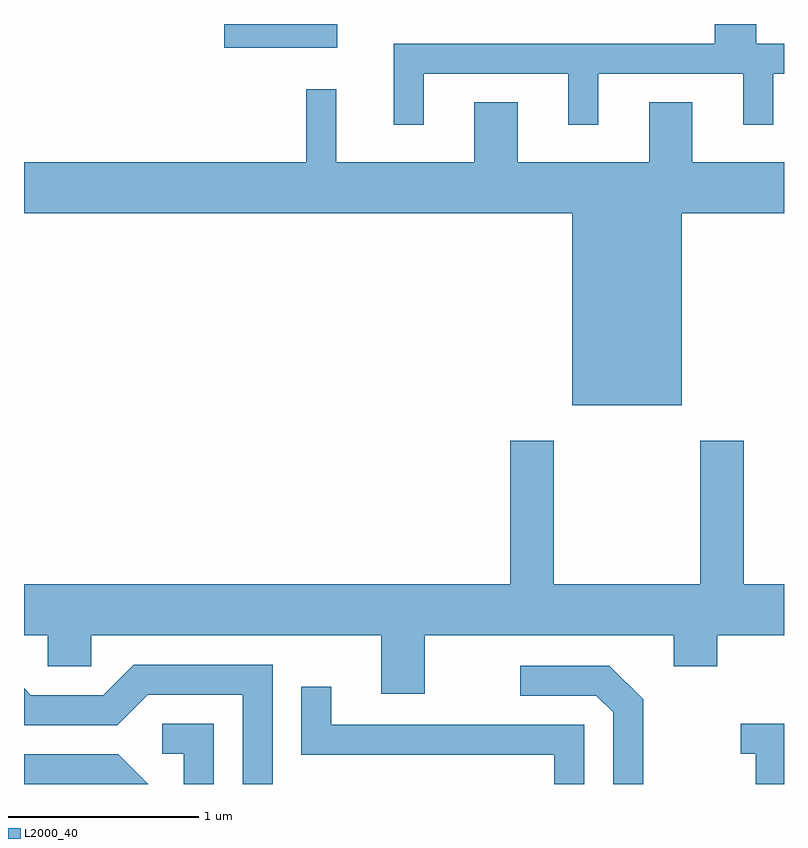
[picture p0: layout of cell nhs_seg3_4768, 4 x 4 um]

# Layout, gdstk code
import gdstk
lib = gdstk.Library(unit=1e-6, precision=1e-09)
def R(c, l, rs):  # rectangles x0, y0, x1, y1
    for r in rs: c.add(gdstk.rectangle(r[:2], r[2:], *l))
def P(c, l, *ps):  # polygons
    for p in ps: c.add(gdstk.Polygon(p, *l))
L2000_40 = (2000, 40)

nhs_seg3_4768 = lib.new_cell('nhs_seg3_4768')
R(nhs_seg3_4768, L2000_40, [(326.666,1135.766,327.259,1135.892)])
P(nhs_seg3_4768, L2000_40, [(327.714,1135.631),(328.476,1135.631),(328.476,1135.363),(328.634,1135.363),(328.634,1135.631),(329.396,1135.631),(329.396,1135.363),(329.554,1135.363),(329.554,1135.631),(329.611,1135.631),(329.611,1135.789),(329.464,1135.789),(329.464,1135.892),(329.246,1135.892),(329.246,1135.789),(327.556,1135.789),(327.556,1135.363),(327.714,1135.363)],
  [(329.074,1134.896),(329.611,1134.896),(329.611,1135.164),(329.129,1135.164),(329.129,1135.479),(328.901,1135.479),(328.901,1135.164),(328.209,1135.164),(328.209,1135.479),(327.981,1135.479),(327.981,1135.164),(327.254,1135.164),(327.254,1135.548),(327.096,1135.548),(327.096,1135.164),(325.611,1135.164),(325.611,1134.896),(328.496,1134.896),(328.496,1133.886),(329.074,1133.886)],
  [(327.719,1132.676),(329.031,1132.676),(329.031,1132.511),(329.259,1132.511),(329.259,1132.676),(329.611,1132.676),(329.611,1132.944),(329.399,1132.944),(329.399,1133.699),(329.171,1133.699),(329.171,1132.944),(328.399,1132.944),(328.399,1133.699),(328.171,1133.699),(328.171,1132.944),(325.611,1132.944),(325.611,1132.676),(325.736,1132.676),(325.736,1132.511),(325.964,1132.511),(325.964,1132.676),(327.491,1132.676),(327.491,1132.366),(327.719,1132.366)],
  [(326.919,1132.519),(326.189,1132.519),(326.029,1132.359),(325.647,1132.359),(325.611,1132.395),(325.611,1132.201),(326.102,1132.201),(326.262,1132.361),(326.761,1132.361),(326.761,1131.892),(326.919,1131.892)],
  [(328.869,1132.337),(328.692,1132.514),(328.223,1132.514),(328.223,1132.356),(328.624,1132.356),(328.711,1132.269),(328.711,1131.892),(328.869,1131.892)],
  [(328.559,1132.204),(327.229,1132.204),(327.229,1132.403),(327.071,1132.403),(327.071,1132.046),(328.401,1132.046),(328.401,1131.892),(328.559,1131.892)],
  [(326.609,1132.209),(326.338,1132.209),(326.338,1132.051),(326.451,1132.051),(326.451,1131.892),(326.609,1131.892)],
  [(329.611,1132.209),(329.383,1132.209),(329.383,1132.051),(329.461,1132.051),(329.461,1131.892),(329.611,1131.892)],
  [(326.107,1132.049),(325.611,1132.049),(325.611,1131.892),(326.264,1131.892)])

lib.write_gds('nhs_seg3_4768.gds')
